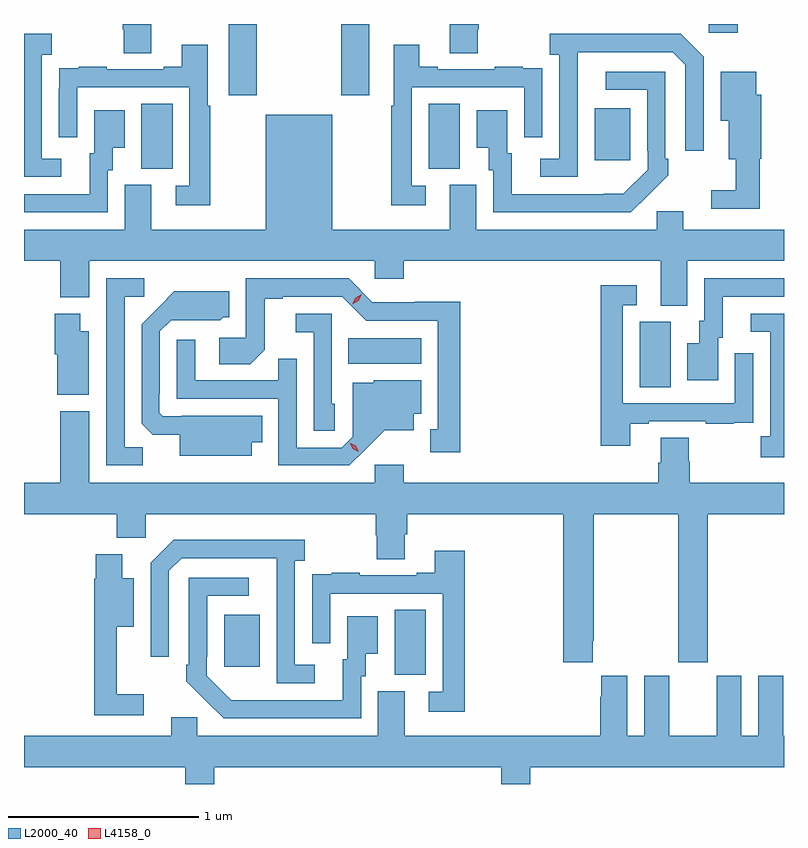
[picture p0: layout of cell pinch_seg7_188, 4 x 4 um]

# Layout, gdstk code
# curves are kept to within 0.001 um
import gdstk
lib = gdstk.Library(unit=1e-6, precision=1e-09)
def R(c, l, rs):  # rectangles x0, y0, x1, y1
    for r in rs: c.add(gdstk.rectangle(r[:2], r[2:], *l))
def P(c, l, *ps):  # polygons
    for p in ps: c.add(gdstk.Polygon(p, *l))
L2000_40 = (2000, 40)
L4158_0 = (4158, 0)

pinch_seg7_188 = lib.new_cell('pinch_seg7_188')
R(pinch_seg7_188, L2000_40, [(1079.558,1001.101,1079.722,1001.444), (1078.661,1001.145,1078.849,1001.419), (1080.848,1002.616,1081.012,1002.96), (1079.314,1002.74,1079.698,1002.874), (1078.226,1003.765,1078.39,1004.108), (1079.738,1003.765,1079.902,1004.108), (1080.611,1003.809,1080.799,1004.083), (1078.685,1004.151,1078.833,1004.527), (1079.278,1004.151,1079.425,1004.527), (1081.212,1004.481,1081.364,1004.527)])
P(pinch_seg7_188, L2000_40, [(1079.997,1004.499),(1080.002,1004.499),(1080.002,1004.527),(1079.849,1004.527),(1079.849,1004.374),(1079.997,1004.374)],
  [(1078.279,1004.527),(1078.127,1004.527),(1078.127,1004.499),(1078.132,1004.499),(1078.132,1004.374),(1078.279,1004.374)],
  [(1077.805,1003.818),(1077.702,1003.818),(1077.702,1004.366),(1077.754,1004.366),(1077.754,1004.476),(1077.608,1004.476),(1077.608,1003.722),(1077.805,1003.722)],
  [(1080.522,1004.179),(1080.523,1004.379),(1081.023,1004.379),(1081.089,1004.313),(1081.089,1003.86),(1081.185,1003.86),(1081.185,1004.355),(1081.064,1004.476),(1080.375,1004.476),(1080.375,1004.366),(1080.426,1004.366),(1080.426,1003.818),(1080.324,1003.818),(1080.324,1003.722),(1080.522,1003.722)],
  [(1079.722,1003.677),(1079.649,1003.677),(1079.649,1004.193),(1080.24,1004.193),(1080.24,1003.932),(1080.336,1003.932),(1080.336,1004.186),(1080.335,1004.186),(1080.335,1004.295),(1080.233,1004.295),(1080.233,1004.302),(1080.085,1004.302),(1080.085,1004.289),(1079.785,1004.289),(1079.785,1004.302),(1079.689,1004.302),(1079.689,1004.419),(1079.553,1004.419),(1079.553,1004.096),(1079.541,1004.096),(1079.541,1003.572),(1079.722,1003.572)],
  [(1078.588,1004.096),(1078.575,1004.096),(1078.575,1004.419),(1078.439,1004.419),(1078.439,1004.302),(1078.343,1004.302),(1078.343,1004.289),(1078.043,1004.289),(1078.043,1004.302),(1077.895,1004.302),(1077.895,1004.295),(1077.793,1004.295),(1077.793,1004.186),(1077.792,1004.186),(1077.792,1003.932),(1077.888,1003.932),(1077.888,1004.193),(1078.479,1004.193),(1078.479,1003.677),(1078.407,1003.677),(1078.407,1003.572),(1078.588,1003.572)],
  [(1080.893,1003.627),(1080.894,1003.626),(1080.999,1003.731),(1080.999,1003.819),(1080.984,1003.819),(1080.984,1004.277),(1080.669,1004.277),(1080.669,1004.181),(1080.888,1004.181),(1080.888,1003.861),(1080.891,1003.861),(1080.891,1003.761),(1080.763,1003.633),(1080.175,1003.632),(1080.175,1003.848),(1080.151,1003.848),(1080.151,1004.074),(1079.99,1004.074),(1079.99,1003.877),(1080.053,1003.877),(1080.053,1003.758),(1080.078,1003.758),(1080.078,1003.536),(1080.802,1003.536)],
  [(1081.481,1003.818),(1081.487,1003.818),(1081.487,1004.154),(1081.462,1004.154),(1081.462,1004.275),(1081.274,1004.275),(1081.274,1004.018),(1081.316,1004.018),(1081.316,1003.814),(1081.353,1003.814),(1081.353,1003.651),(1081.224,1003.651),(1081.224,1003.554),(1081.481,1003.554)],
  [(1078.05,1003.758),(1078.075,1003.758),(1078.075,1003.877),(1078.138,1003.877),(1078.138,1004.074),(1077.977,1004.074),(1077.977,1003.848),(1077.953,1003.848),(1077.953,1003.632),(1077.608,1003.632),(1077.608,1003.536),(1078.05,1003.536)],
  [(1081.099,1003.28),(1081.608,1003.28),(1081.608,1003.444),(1081.078,1003.444),(1081.078,1003.542),(1080.939,1003.542),(1080.939,1003.444),(1079.989,1003.444),(1079.989,1003.68),(1079.849,1003.68),(1079.849,1003.444),(1079.23,1003.444),(1079.23,1004.05),(1078.88,1004.05),(1078.88,1003.444),(1078.279,1003.444),(1078.279,1003.68),(1078.139,1003.68),(1078.139,1003.444),(1077.608,1003.444),(1077.608,1003.28),(1077.8,1003.28),(1077.8,1003.088),(1077.952,1003.088),(1077.952,1003.28),(1079.454,1003.28),(1079.454,1003.187),(1079.606,1003.187),(1079.606,1003.28),(1080.959,1003.28),(1080.959,1003.045),(1081.099,1003.045)],
  [(1079.905,1003.064),(1079.664,1003.064),(1079.664,1003.062),(1079.442,1003.062),(1079.316,1003.188),(1078.776,1003.188),(1078.776,1002.876),(1078.635,1002.876),(1078.635,1002.736),(1078.799,1002.736),(1078.875,1002.812),(1078.875,1003.08),(1078.969,1003.08),(1078.969,1003.092),(1079.283,1003.092),(1079.409,1002.966),(1079.786,1002.966),(1079.786,1002.393),(1079.747,1002.393),(1079.747,1002.273),(1079.905,1002.273)],
  [(1078.233,1002.299),(1078.137,1002.299),(1078.137,1003.092),(1078.24,1003.092),(1078.24,1003.188),(1078.041,1003.188),(1078.041,1002.204),(1078.233,1002.204)],
  [(1081.261,1002.876),(1081.285,1002.876),(1081.285,1003.092),(1081.608,1003.092),(1081.608,1003.188),(1081.188,1003.188),(1081.188,1002.966),(1081.163,1002.966),(1081.163,1002.847),(1081.1,1002.847),(1081.1,1002.651),(1081.261,1002.651)],
  [(1080.799,1002.423),(1080.895,1002.423),(1080.895,1002.435),(1081.195,1002.435),(1081.195,1002.423),(1081.343,1002.423),(1081.343,1002.429),(1081.445,1002.429),(1081.445,1002.538),(1081.446,1002.538),(1081.446,1002.793),(1081.35,1002.793),(1081.35,1002.531),(1080.759,1002.531),(1080.759,1003.047),(1080.832,1003.047),(1080.832,1003.153),(1080.643,1003.153),(1080.643,1002.306),(1080.799,1002.306)],
  [(1078.807,1002.326),(1078.862,1002.326),(1078.862,1002.466),(1078.438,1002.466),(1078.438,1002.462),(1078.338,1002.462),(1078.32,1002.48),(1078.32,1002.58),(1078.323,1002.58),(1078.323,1002.909),(1078.383,1002.969),(1078.64,1002.968),(1078.656,1002.984),(1078.687,1002.984),(1078.687,1003.12),(1078.399,1003.12),(1078.227,1002.946),(1078.227,1002.424),(1078.286,1002.365),(1078.427,1002.365),(1078.427,1002.254),(1078.807,1002.254)],
  [(1077.949,1002.91),(1077.904,1002.91),(1077.904,1003.003),(1077.77,1003.003),(1077.77,1002.789),(1077.782,1002.789),(1077.782,1002.575),(1077.949,1002.575)],
  [(1081.608,1003.002),(1081.434,1003.002),(1081.434,1002.906),(1081.536,1002.906),(1081.536,1002.358),(1081.485,1002.358),(1081.485,1002.248),(1081.608,1002.248)],
  [(1079.244,1002.528),(1079.229,1002.528),(1079.229,1003.002),(1079.037,1003.002),(1079.037,1002.905),(1079.133,1002.905),(1079.133,1002.385),(1079.244,1002.385)],
  [(1079.404,1002.287),(1079.507,1002.389),(1079.659,1002.389),(1079.659,1002.476),(1079.698,1002.476),(1079.698,1002.652),(1079.448,1002.652),(1079.448,1002.64),(1079.337,1002.64),(1079.337,1002.354),(1079.28,1002.297),(1079.043,1002.297),(1079.043,1002.764),(1078.945,1002.764),(1078.945,1002.651),(1078.509,1002.651),(1078.509,1002.865),(1078.413,1002.865),(1078.413,1002.555),(1078.947,1002.555),(1078.947,1002.204),(1079.32,1002.204)],
  [(1080.601,1001.281),(1080.606,1001.281),(1080.606,1001.948),(1081.051,1001.948),(1081.051,1001.169),(1081.206,1001.169),(1081.206,1001.948),(1081.608,1001.948),(1081.608,1002.112),(1081.112,1002.112),(1081.112,1002.225),(1081.107,1002.225),(1081.107,1002.35),(1080.959,1002.35),(1080.959,1002.218),(1080.947,1002.218),(1080.947,1002.112),(1079.606,1002.112),(1079.606,1002.208),(1079.454,1002.208),(1079.454,1002.112),(1077.952,1002.112),(1077.952,1002.49),(1077.8,1002.49),(1077.8,1002.112),(1077.608,1002.112),(1077.608,1001.948),(1078.097,1001.948),(1078.097,1001.822),(1078.248,1001.822),(1078.248,1001.948),(1079.459,1001.948),(1079.459,1001.835),(1079.464,1001.835),(1079.464,1001.71),(1079.611,1001.71),(1079.611,1001.842),(1079.624,1001.842),(1079.624,1001.948),(1080.446,1001.948),(1080.446,1001.169),(1080.601,1001.169)],
  [(1079.137,1001.154),(1079.034,1001.154),(1079.034,1001.702),(1079.086,1001.702),(1079.086,1001.812),(1078.396,1001.812),(1078.275,1001.691),(1078.275,1001.196),(1078.371,1001.196),(1078.371,1001.649),(1078.437,1001.715),(1078.937,1001.715),(1078.938,1001.058),(1079.137,1001.058)],
  [(1079.927,1001.755),(1079.771,1001.755),(1079.771,1001.638),(1079.675,1001.638),(1079.675,1001.625),(1079.375,1001.625),(1079.375,1001.638),(1079.227,1001.638),(1079.227,1001.631),(1079.125,1001.631),(1079.125,1001.522),(1079.124,1001.522),(1079.124,1001.268),(1079.22,1001.268),(1079.22,1001.529),(1079.811,1001.529),(1079.811,1001.013),(1079.739,1001.013),(1079.739,1000.908),(1079.927,1000.908)],
  [(1078.237,1000.999),(1078.097,1000.999),(1078.097,1001.354),(1078.186,1001.354),(1078.186,1001.611),(1078.126,1001.611),(1078.126,1001.737),(1077.986,1001.737),(1077.986,1001.607),(1077.979,1001.607),(1077.979,1000.89),(1078.237,1000.89)],
  [(1079.382,1001.094),(1079.407,1001.094),(1079.407,1001.213),(1079.47,1001.213),(1079.47,1001.41),(1079.309,1001.41),(1079.309,1001.184),(1079.285,1001.184),(1079.285,1000.968),(1078.698,1000.969),(1078.569,1001.097),(1078.569,1001.197),(1078.572,1001.197),(1078.572,1001.517),(1078.792,1001.517),(1078.792,1001.613),(1078.476,1001.613),(1078.476,1001.155),(1078.461,1001.155),(1078.461,1001.067),(1078.658,1000.872),(1079.382,1000.872)],
  [(1078.61,1000.616),(1080.119,1000.616),(1080.119,1000.527),(1080.272,1000.527),(1080.272,1000.616),(1081.608,1000.616),(1081.608,1000.78),(1081.603,1000.78),(1081.603,1001.098),(1081.472,1001.098),(1081.472,1000.78),(1081.384,1000.78),(1081.384,1001.098),(1081.253,1001.098),(1081.253,1000.78),(1081.003,1000.78),(1081.003,1001.098),(1080.872,1001.098),(1080.872,1000.78),(1080.784,1000.78),(1080.784,1001.098),(1080.647,1001.098),(1080.647,1000.985),(1080.641,1000.985),(1080.641,1000.78),(1079.611,1000.78),(1079.611,1001.016),(1079.471,1001.016),(1079.471,1000.78),(1078.521,1000.78),(1078.521,1000.878),(1078.382,1000.878),(1078.382,1000.78),(1077.608,1000.78),(1077.608,1000.616),(1078.457,1000.616),(1078.457,1000.527),(1078.61,1000.527)])
P(pinch_seg7_188, L4158_0, [(1079.336,1003.052),(1079.336,1003.052),(1079.353,1003.085),(1079.385,1003.105),(1079.385,1003.105),(1079.385,1003.104),(1079.368,1003.071),(1079.336,1003.052)],
  [(1079.369,1002.277),(1079.339,1002.292),(1079.322,1002.322),(1079.322,1002.322),(1079.322,1002.322),(1079.353,1002.307),(1079.37,1002.277),(1079.37,1002.277)])

lib.write_gds('pinch_seg7_188.gds')
